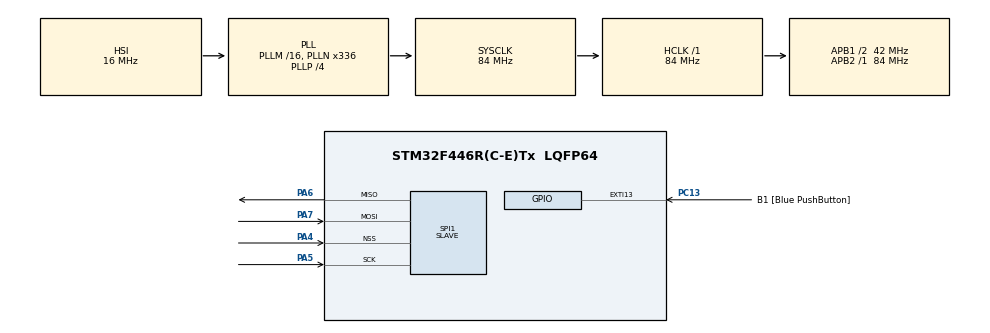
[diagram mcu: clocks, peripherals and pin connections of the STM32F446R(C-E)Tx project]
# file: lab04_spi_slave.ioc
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Mcu.Family=STM32F4
Mcu.Name=STM32F446R(C-E)Tx
Mcu.Package=LQFP64
NVIC.PriorityGroup=NVIC_PRIORITYGROUP_0
PA13.GPIO_Label=TMS
PA13.Signal=SYS_JTMS-SWDIO
PA14.GPIO_Label=TCK
PA14.Signal=SYS_JTCK-SWCLK
PA2.GPIO_Label=USART_TX
PA2.Signal=USART2_TX
PA3.GPIO_Label=USART_RX
PA3.Signal=USART2_RX
PA4.Mode=NSS_Signal_Hard_Input
PA4.Signal=SPI1_NSS
PA5.Mode=Full_Duplex_Slave
PA5.Signal=SPI1_SCK
PA6.Mode=Full_Duplex_Slave
PA6.Signal=SPI1_MISO
PA7.Mode=Full_Duplex_Slave
PA7.Signal=SPI1_MOSI
PB3.GPIO_Label=SWO
PB3.Signal=SYS_JTDO-SWO
PC13.GPIO_Label=B1 [Blue PushButton]
PC13.GPIO_ModeDefaultEXTI=GPIO_MODE_IT_FALLING
PC13.Signal=GPXTI13
PC14-OSC32_IN.Signal=RCC_OSC32_IN
PC15-OSC32_OUT.Signal=RCC_OSC32_OUT
PH0-OSC_IN.Signal=RCC_OSC_IN
PH1-OSC_OUT.Signal=RCC_OSC_OUT
ProjectManager.HeapSize=0x200
ProjectManager.StackSize=0x400
ProjectManager.TargetToolchain=STM32CubeIDE
RCC.AHBFreq_Value=84000000
RCC.APB1CLKDivider=RCC_HCLK_DIV2
RCC.APB1Freq_Value=42000000
RCC.APB1TimFreq_Value=84000000
RCC.APB2Freq_Value=84000000
RCC.APB2TimFreq_Value=84000000
RCC.CortexFreq_Value=84000000
RCC.FLatency-AdvancedSettings=FLASH_LATENCY_2
RCC.HCLKFreq_Value=84000000
RCC.HSE_VALUE=8000000
RCC.HSI_VALUE=16000000
RCC.LSE_VALUE=32768
RCC.PLLN=336
RCC.PLLP=RCC_PLLP_DIV4
RCC.SYSCLKFreq_VALUE=84000000
RCC.SYSCLKSource=RCC_SYSCLKSOURCE_PLLCLK
RCC.USBFreq_Value=168000000
RCC.VCOOutputFreq_Value=336000000
SPI1.Direction=SPI_DIRECTION_2LINES
SPI1.Mode=SPI_MODE_SLAVE
SPI1.VirtualNSS=VM_NSSHARD
SPI1.VirtualType=VM_SLAVE
board=NUCLEO-F446RE

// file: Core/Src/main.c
/* USER CODE BEGIN Header */
/**
  ******************************************************************************
  * @file           : main.c
  * @brief          : Main program body
  ******************************************************************************
  * @attention
  *
  * Copyright (c) 2026 STMicroelectronics.
  * All rights reserved.
  *
  * This software is licensed under terms that can be found in the LICENSE file
  * in the root directory of this software component.
  * If no LICENSE file comes with this software, it is provided AS-IS.
  *
  ******************************************************************************
  */
/* USER CODE END Header */
#include "main.h"

SPI_HandleTypeDef hspi1;

/* USER CODE BEGIN PV */
uint8_t slave_tx[2] = {0xA5, 0x5A};
uint8_t slave_rx[2] = {0};
uint8_t response_tx[2] = {0};
HAL_StatusTypeDef spi_status = HAL_ERROR;
uint8_t response_rx[2] = {0};
HAL_StatusTypeDef response_status = HAL_ERROR;

/* USER CODE END PV */

void SystemClock_Config(void);
static void MX_GPIO_Init(void);
static void MX_SPI1_Init(void);

int main(void)
{

  /* MCU Configuration--------------------------------------------------------*/

  /* Reset of all peripherals, Initializes the Flash interface and the Systick. */
  HAL_Init();

  /* Configure the system clock */
  SystemClock_Config();

  /* Initialize all configured peripherals */
  MX_GPIO_Init();
  MX_SPI1_Init();
  /* USER CODE BEGIN 2 */
  spi_status = HAL_SPI_TransmitReceive(
      &hspi1,
      slave_tx,
      slave_rx,
      2,
      HAL_MAX_DELAY
  );

  /* Prepare response based on the received command */
  if ((spi_status == HAL_OK) && (slave_rx[0] == 0x01U))
  {
      response_tx[0] = slave_rx[0] | 0x80U;
      response_tx[1] = slave_rx[1];
  }
  else
  {
      response_tx[0] = 0xFFU;
      response_tx[1] = 0x00U;
  }

  /* Wait for master to clock out the calculated response */
  response_status = HAL_SPI_TransmitReceive(
      &hspi1,
      response_tx,
      response_rx,
      2,
      HAL_MAX_DELAY
  );

  /* USER CODE END 2 */

  /* Infinite loop */
  while (1)
  {

  }
}

void SystemClock_Config(void)
{
  RCC_OscInitTypeDef RCC_OscInitStruct = {0};
  RCC_ClkInitTypeDef RCC_ClkInitStruct = {0};

  /** Configure the main internal regulator output voltage
  */
  __HAL_RCC_PWR_CLK_ENABLE();
  __HAL_PWR_VOLTAGESCALING_CONFIG(PWR_REGULATOR_VOLTAGE_SCALE3);

  /** Initializes the RCC Oscillators according to the specified parameters
  * in the RCC_OscInitTypeDef structure.
  */
  RCC_OscInitStruct.OscillatorType = RCC_OSCILLATORTYPE_HSI;
  RCC_OscInitStruct.HSIState = RCC_HSI_ON;
  RCC_OscInitStruct.HSICalibrationValue = RCC_HSICALIBRATION_DEFAULT;
  RCC_OscInitStruct.PLL.PLLState = RCC_PLL_ON;
  RCC_OscInitStruct.PLL.PLLSource = RCC_PLLSOURCE_HSI;
  RCC_OscInitStruct.PLL.PLLM = 16;
  RCC_OscInitStruct.PLL.PLLN = 336;
  RCC_OscInitStruct.PLL.PLLP = RCC_PLLP_DIV4;
  RCC_OscInitStruct.PLL.PLLQ = 2;
  RCC_OscInitStruct.PLL.PLLR = 2;
  if (HAL_RCC_OscConfig(&RCC_OscInitStruct) != HAL_OK)
  {
    Error_Handler();
  }

  /** Initializes the CPU, AHB and APB buses clocks
  */
  RCC_ClkInitStruct.ClockType = RCC_CLOCKTYPE_HCLK|RCC_CLOCKTYPE_SYSCLK
                              |RCC_CLOCKTYPE_PCLK1|RCC_CLOCKTYPE_PCLK2;
  RCC_ClkInitStruct.SYSCLKSource = RCC_SYSCLKSOURCE_PLLCLK;
  RCC_ClkInitStruct.AHBCLKDivider = RCC_SYSCLK_DIV1;
  RCC_ClkInitStruct.APB1CLKDivider = RCC_HCLK_DIV2;
  RCC_ClkInitStruct.APB2CLKDivider = RCC_HCLK_DIV1;

  if (HAL_RCC_ClockConfig(&RCC_ClkInitStruct, FLASH_LATENCY_2) != HAL_OK)
  {
    Error_Handler();
  }
}

static void MX_SPI1_Init(void)
{

  /* SPI1 parameter configuration*/
  hspi1.Instance = SPI1;
  hspi1.Init.Mode = SPI_MODE_SLAVE;
  hspi1.Init.Direction = SPI_DIRECTION_2LINES;
  hspi1.Init.DataSize = SPI_DATASIZE_8BIT;
  hspi1.Init.CLKPolarity = SPI_POLARITY_LOW;
  hspi1.Init.CLKPhase = SPI_PHASE_1EDGE;
  hspi1.Init.NSS = SPI_NSS_HARD_INPUT;
  hspi1.Init.FirstBit = SPI_FIRSTBIT_MSB;
  hspi1.Init.TIMode = SPI_TIMODE_DISABLE;
  hspi1.Init.CRCCalculation = SPI_CRCCALCULATION_DISABLE;
  hspi1.Init.CRCPolynomial = 10;
  if (HAL_SPI_Init(&hspi1) != HAL_OK)
  {
    Error_Handler();
  }

}

static void MX_GPIO_Init(void)
{
  GPIO_InitTypeDef GPIO_InitStruct = {0};

  /* GPIO Ports Clock Enable */
  __HAL_RCC_GPIOC_CLK_ENABLE();
  __HAL_RCC_GPIOH_CLK_ENABLE();
  __HAL_RCC_GPIOA_CLK_ENABLE();
  __HAL_RCC_GPIOB_CLK_ENABLE();

  /*Configure GPIO pin : B1_Pin */
  GPIO_InitStruct.Pin = B1_Pin;
  GPIO_InitStruct.Mode = GPIO_MODE_IT_FALLING;
  GPIO_InitStruct.Pull = GPIO_NOPULL;
  HAL_GPIO_Init(B1_GPIO_Port, &GPIO_InitStruct);

  /*Configure GPIO pins : USART_TX_Pin USART_RX_Pin */
  GPIO_InitStruct.Pin = USART_TX_Pin|USART_RX_Pin;
  GPIO_InitStruct.Mode = GPIO_MODE_AF_PP;
  GPIO_InitStruct.Pull = GPIO_NOPULL;
  GPIO_InitStruct.Speed = GPIO_SPEED_FREQ_VERY_HIGH;
  GPIO_InitStruct.Alternate = GPIO_AF7_USART2;
  HAL_GPIO_Init(GPIOA, &GPIO_InitStruct);

}

void Error_Handler(void)
{
  __disable_irq();
  while (1)
  {
  }
}
